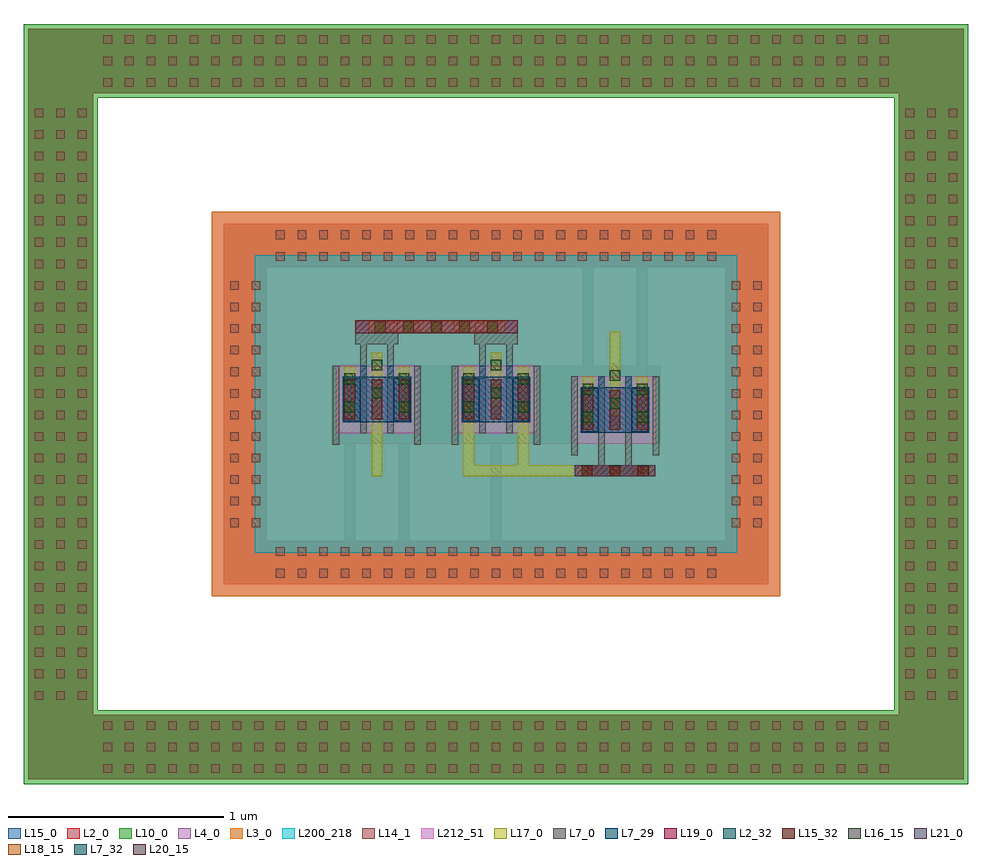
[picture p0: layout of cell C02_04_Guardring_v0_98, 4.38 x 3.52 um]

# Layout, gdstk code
import gdstk
lib = gdstk.Library(unit=1e-6, precision=1e-09)
def R(c, l, rs):  # rectangles x0, y0, x1, y1
    for r in rs: c.add(gdstk.rectangle(r[:2], r[2:], *l))
def A(c, l, x, y, w, h, nx, ny, dx, dy):  # array of equal rectangles
    R(c, l, [(x+i*dx, y+j*dy, x+i*dx+w, y+j*dy+h) for i in range(nx) for j in range(ny)])
L2_0 = (2, 0)
L2_32 = (2, 32)
L3_0 = (3, 0)
L4_0 = (4, 0)
L7_0 = (7, 0)
L7_29 = (7, 29)
L7_32 = (7, 32)
L10_0 = (10, 0)
L14_1 = (14, 1)
L15_0 = (15, 0)
L15_32 = (15, 32)
L16_15 = (16, 15)
L17_0 = (17, 0)
L18_15 = (18, 15)
L19_0 = (19, 0)
L20_15 = (20, 15)
L21_0 = (21, 0)
L200_218 = (200, 218)
L212_51 = (212, 51)

c02_04_guardring_v0_98_s = lib.new_cell('C02_04_Guardring_v0_98:SRF_Tr5Tr7Tr9:SRF_Tr5:SRF_Pmos:SRF_Source_ViaM1M2:SRF_ViaM1M2')
R(c02_04_guardring_v0_98_s, L15_0, [(0,-0.162,0.05,0.082)])
R(c02_04_guardring_v0_98_s, L16_15, [(0,-0.13,0.05,-0.08), (0,0,0.05,0.05)])
R(c02_04_guardring_v0_98_s, L17_0, [(0,-0.162,0.05,0.082)])

c_c02_04_guardring_v0_98_s = lib.new_cell('C02_04_Guardring_v0_98:SRF_Tr5Tr7Tr9:SRF_Tr5:SRF_Pmos:SRF_Source_ViaM1M2')
c_c02_04_guardring_v0_98_s.add(gdstk.Reference(c02_04_guardring_v0_98_s, (-0.025,0.04)))

c_c02_04_guardring_v0_98_s_ = lib.new_cell('C02_04_Guardring_v0_98:SRF_Tr5Tr7Tr9:SRF_Tr5:SRF_Pmos:SRF_Drain_ViaM1M2:SRF_ViaM1M2')
R(c_c02_04_guardring_v0_98_s_, L15_0, [(0,-0.162,0.05,0.082)])
R(c_c02_04_guardring_v0_98_s_, L16_15, [(0,-0.13,0.05,-0.08), (0,0,0.05,0.05)])
R(c_c02_04_guardring_v0_98_s_, L17_0, [(0,-0.162,0.05,0.082)])

c_c02_04_guardring_v0_98_s__ = lib.new_cell('C02_04_Guardring_v0_98:SRF_Tr5Tr7Tr9:SRF_Tr5:SRF_Pmos:SRF_Drain_ViaM1M2')
c_c02_04_guardring_v0_98_s__.add(gdstk.Reference(c_c02_04_guardring_v0_98_s_, (-0.025,0.04)))

c_c02_04_guardring_v0_98_s___ = lib.new_cell('C02_04_Guardring_v0_98:SRF_Tr5Tr7Tr9:SRF_Tr5:SRF_Pmos')
R(c_c02_04_guardring_v0_98_s___, L2_0, [(-0.076,0.057,0.232,0.257)])
R(c_c02_04_guardring_v0_98_s___, L2_32, [(-0.076,0.057,0,0.257), (0.156,0.057,0.232,0.257)])
R(c_c02_04_guardring_v0_98_s___, L7_0, [(-0.126,-0.053,-0.096,0.314), (0.252,-0.053,0.282,0.314), (0,0,0.03,0.314), (0.126,0,0.156,0.314)])
R(c_c02_04_guardring_v0_98_s___, L7_29, [(-0.081,0.052,0.237,0.262)])
R(c_c02_04_guardring_v0_98_s___, L7_32, [(0,0.257,0.03,0.314), (0.126,0.257,0.156,0.314)])
R(c_c02_04_guardring_v0_98_s___, L10_0, [(-0.132,0.001,0.288,0.313)])
A(c_c02_04_guardring_v0_98_s___, L14_1, -0.068, 0.087, 0.04, 0.04, 3, 2, 0.126, 0.1)
R(c_c02_04_guardring_v0_98_s___, L15_0, [(-0.073,0.066,-0.023,0.248), (-0.073,0.066,-0.023,0.248), (0.053,0.066,0.103,0.248), (0.053,0.066,0.103,0.248), (0.179,0.066,0.229,0.248), (0.179,0.066,0.229,0.248)])
A(c_c02_04_guardring_v0_98_s___, L15_32, -0.073, 0.066, 0.05, 0.182, 3, 1, 0.126, 0)
R(c_c02_04_guardring_v0_98_s___, L212_51, [(-0.111,0.001,0.267,0.313)])
c_c02_04_guardring_v0_98_s___.add(gdstk.Reference(c_c02_04_guardring_v0_98_s, (-0.048,0.188)))
c_c02_04_guardring_v0_98_s___.add(gdstk.Reference(c_c02_04_guardring_v0_98_s, (0.204,0.188)))
c_c02_04_guardring_v0_98_s___.add(gdstk.Reference(c_c02_04_guardring_v0_98_s__, (0.078,0.252)))

c_c02_04_guardring_v0_98_s____ = lib.new_cell('C02_04_Guardring_v0_98:SRF_Tr5Tr7Tr9:SRF_Tr5')
R(c_c02_04_guardring_v0_98_s____, L7_0, [(0,0.314,0.03,0.414), (0.126,0.314,0.156,0.414), (-0.022,0.414,0.178,0.464)])
R(c_c02_04_guardring_v0_98_s____, L17_0, [(0.053,-0.198,0.103,-0.148), (0.053,-0.148,0.103,0.13)])
c_c02_04_guardring_v0_98_s____.add(gdstk.Reference(c_c02_04_guardring_v0_98_s___, (0,0)))

c_c02_04_guardring_v0_98_s_____ = lib.new_cell('C02_04_Guardring_v0_98:SRF_Tr5Tr7Tr9:SRF_Tr7:SRF_Pmos:SRF_Source_ViaM1M2:SRF_ViaM1M2')
R(c_c02_04_guardring_v0_98_s_____, L15_0, [(0,-0.162,0.05,0.082)])
R(c_c02_04_guardring_v0_98_s_____, L16_15, [(0,-0.13,0.05,-0.08), (0,0,0.05,0.05)])
R(c_c02_04_guardring_v0_98_s_____, L17_0, [(0,-0.162,0.05,0.082)])

c_c02_04_guardring_v0_98_s______ = lib.new_cell('C02_04_Guardring_v0_98:SRF_Tr5Tr7Tr9:SRF_Tr7:SRF_Pmos:SRF_Source_ViaM1M2')
c_c02_04_guardring_v0_98_s______.add(gdstk.Reference(c_c02_04_guardring_v0_98_s_____, (-0.025,0.04)))

c_c02_04_guardring_v0_98_s_______ = lib.new_cell('C02_04_Guardring_v0_98:SRF_Tr5Tr7Tr9:SRF_Tr7:SRF_Pmos:SRF_Drain_ViaM1M2:SRF_ViaM1M2')
R(c_c02_04_guardring_v0_98_s_______, L15_0, [(0,-0.162,0.05,0.082)])
R(c_c02_04_guardring_v0_98_s_______, L16_15, [(0,-0.13,0.05,-0.08), (0,0,0.05,0.05)])
R(c_c02_04_guardring_v0_98_s_______, L17_0, [(0,-0.162,0.05,0.082)])

c_c02_04_guardring_v0_98_s________ = lib.new_cell('C02_04_Guardring_v0_98:SRF_Tr5Tr7Tr9:SRF_Tr7:SRF_Pmos:SRF_Drain_ViaM1M2')
c_c02_04_guardring_v0_98_s________.add(gdstk.Reference(c_c02_04_guardring_v0_98_s_______, (-0.025,0.04)))

c_c02_04_guardring_v0_98_s_________ = lib.new_cell('C02_04_Guardring_v0_98:SRF_Tr5Tr7Tr9:SRF_Tr7:SRF_Pmos')
R(c_c02_04_guardring_v0_98_s_________, L2_0, [(-0.076,0.057,0.232,0.257)])
R(c_c02_04_guardring_v0_98_s_________, L2_32, [(-0.076,0.057,0,0.257), (0.156,0.057,0.232,0.257)])
R(c_c02_04_guardring_v0_98_s_________, L7_0, [(-0.126,-0.053,-0.096,0.314), (0.252,-0.053,0.282,0.314), (0,0,0.03,0.314), (0.126,0,0.156,0.314)])
R(c_c02_04_guardring_v0_98_s_________, L7_29, [(-0.081,0.052,0.237,0.262)])
R(c_c02_04_guardring_v0_98_s_________, L7_32, [(0,0.257,0.03,0.314), (0.126,0.257,0.156,0.314)])
R(c_c02_04_guardring_v0_98_s_________, L10_0, [(-0.132,0.001,0.288,0.313)])
A(c_c02_04_guardring_v0_98_s_________, L14_1, -0.068, 0.087, 0.04, 0.04, 3, 2, 0.126, 0.1)
R(c_c02_04_guardring_v0_98_s_________, L15_0, [(-0.073,0.066,-0.023,0.248), (-0.073,0.066,-0.023,0.248), (0.053,0.066,0.103,0.248), (0.053,0.066,0.103,0.248), (0.179,0.066,0.229,0.248), (0.179,0.066,0.229,0.248)])
A(c_c02_04_guardring_v0_98_s_________, L15_32, -0.073, 0.066, 0.05, 0.182, 3, 1, 0.126, 0)
R(c_c02_04_guardring_v0_98_s_________, L212_51, [(-0.111,0.001,0.267,0.313)])
c_c02_04_guardring_v0_98_s_________.add(gdstk.Reference(c_c02_04_guardring_v0_98_s______, (-0.048,0.188)))
c_c02_04_guardring_v0_98_s_________.add(gdstk.Reference(c_c02_04_guardring_v0_98_s______, (0.204,0.188)))
c_c02_04_guardring_v0_98_s_________.add(gdstk.Reference(c_c02_04_guardring_v0_98_s________, (0.078,0.252)))

c_c02_04_guardring_v0_98_s__________ = lib.new_cell('C02_04_Guardring_v0_98:SRF_Tr5Tr7Tr9:SRF_Tr7')
R(c_c02_04_guardring_v0_98_s__________, L7_0, [(0,0.314,0.03,0.414), (0.126,0.314,0.156,0.414), (-0.022,0.414,0.178,0.464)])
R(c_c02_04_guardring_v0_98_s__________, L17_0, [(-0.073,-0.198,0.229,-0.148), (-0.073,-0.148,-0.023,0.066), (0.179,-0.148,0.229,0.066)])
c_c02_04_guardring_v0_98_s__________.add(gdstk.Reference(c_c02_04_guardring_v0_98_s_________, (0,0)))

c_c02_04_guardring_v0_98_s___________ = lib.new_cell('C02_04_Guardring_v0_98:SRF_Tr5Tr7Tr9:SRF_Tr9:SRF_Pmos:SRF_Source_ViaM1M2:SRF_ViaM1M2')
R(c_c02_04_guardring_v0_98_s___________, L15_0, [(0,-0.162,0.05,0.082)])
R(c_c02_04_guardring_v0_98_s___________, L16_15, [(0,-0.13,0.05,-0.08), (0,0,0.05,0.05)])
R(c_c02_04_guardring_v0_98_s___________, L17_0, [(0,-0.162,0.05,0.082)])

c_c02_04_guardring_v0_98_s____________ = lib.new_cell('C02_04_Guardring_v0_98:SRF_Tr5Tr7Tr9:SRF_Tr9:SRF_Pmos:SRF_Source_ViaM1M2')
c_c02_04_guardring_v0_98_s____________.add(gdstk.Reference(c_c02_04_guardring_v0_98_s___________, (-0.025,0.04)))

c_c02_04_guardring_v0_98_s_____________ = lib.new_cell('C02_04_Guardring_v0_98:SRF_Tr5Tr7Tr9:SRF_Tr9:SRF_Pmos:SRF_Drain_ViaM1M2:SRF_ViaM1M2')
R(c_c02_04_guardring_v0_98_s_____________, L15_0, [(0,-0.162,0.05,0.082)])
R(c_c02_04_guardring_v0_98_s_____________, L16_15, [(0,-0.13,0.05,-0.08), (0,0,0.05,0.05)])
R(c_c02_04_guardring_v0_98_s_____________, L17_0, [(0,-0.162,0.05,0.082)])

c_c02_04_guardring_v0_98_s______________ = lib.new_cell('C02_04_Guardring_v0_98:SRF_Tr5Tr7Tr9:SRF_Tr9:SRF_Pmos:SRF_Drain_ViaM1M2')
c_c02_04_guardring_v0_98_s______________.add(gdstk.Reference(c_c02_04_guardring_v0_98_s_____________, (-0.025,0.04)))

c_c02_04_guardring_v0_98_s_______________ = lib.new_cell('C02_04_Guardring_v0_98:SRF_Tr5Tr7Tr9:SRF_Tr9:SRF_Pmos')
R(c_c02_04_guardring_v0_98_s_______________, L2_0, [(-0.076,0.057,0.232,0.257)])
R(c_c02_04_guardring_v0_98_s_______________, L2_32, [(-0.076,0.057,0,0.257), (0.156,0.057,0.232,0.257)])
R(c_c02_04_guardring_v0_98_s_______________, L7_0, [(-0.126,-0.053,-0.096,0.314), (0.252,-0.053,0.282,0.314), (0,0,0.03,0.314), (0.126,0,0.156,0.314)])
R(c_c02_04_guardring_v0_98_s_______________, L7_29, [(-0.081,0.052,0.237,0.262)])
R(c_c02_04_guardring_v0_98_s_______________, L7_32, [(0,0.257,0.03,0.314), (0.126,0.257,0.156,0.314)])
R(c_c02_04_guardring_v0_98_s_______________, L10_0, [(-0.132,0.001,0.288,0.313)])
A(c_c02_04_guardring_v0_98_s_______________, L14_1, -0.068, 0.087, 0.04, 0.04, 3, 2, 0.126, 0.1)
R(c_c02_04_guardring_v0_98_s_______________, L15_0, [(-0.073,0.066,-0.023,0.248), (-0.073,0.066,-0.023,0.248), (0.053,0.066,0.103,0.248), (0.053,0.066,0.103,0.248), (0.179,0.066,0.229,0.248), (0.179,0.066,0.229,0.248)])
A(c_c02_04_guardring_v0_98_s_______________, L15_32, -0.073, 0.066, 0.05, 0.182, 3, 1, 0.126, 0)
R(c_c02_04_guardring_v0_98_s_______________, L212_51, [(-0.111,0.001,0.267,0.313)])
c_c02_04_guardring_v0_98_s_______________.add(gdstk.Reference(c_c02_04_guardring_v0_98_s____________, (-0.048,0.188)))
c_c02_04_guardring_v0_98_s_______________.add(gdstk.Reference(c_c02_04_guardring_v0_98_s____________, (0.204,0.188)))
c_c02_04_guardring_v0_98_s_______________.add(gdstk.Reference(c_c02_04_guardring_v0_98_s______________, (0.078,0.252)))

c_c02_04_guardring_v0_98_s________________ = lib.new_cell('C02_04_Guardring_v0_98:SRF_Tr5Tr7Tr9:SRF_Tr9')
R(c_c02_04_guardring_v0_98_s________________, L7_0, [(-0.052,-0.15,0.208,-0.1), (0,-0.1,0.03,0), (0.126,-0.1,0.156,0)])
R(c_c02_04_guardring_v0_98_s________________, L17_0, [(0.053,0.374,0.103,0.469), (0.053,0.469,0.103,0.519)])
c_c02_04_guardring_v0_98_s________________.add(gdstk.Reference(c_c02_04_guardring_v0_98_s_______________, (0,0)))

c_c02_04_guardring_v0_98_s_________________ = lib.new_cell('C02_04_Guardring_v0_98:SRF_Tr5Tr7Tr9')
R(c_c02_04_guardring_v0_98_s_________________, L10_0, [(-0.132,-0.047,1.392,0.313)])
c_c02_04_guardring_v0_98_s_________________.add(gdstk.Reference(c_c02_04_guardring_v0_98_s____, (0,0)))
c_c02_04_guardring_v0_98_s_________________.add(gdstk.Reference(c_c02_04_guardring_v0_98_s__________, (0.552,0)))
c_c02_04_guardring_v0_98_s_________________.add(gdstk.Reference(c_c02_04_guardring_v0_98_s________________, (1.104,-0.048)))

c02_04_guardring_v0_98__ = lib.new_cell('C02_04_Guardring_v0_98:_Nbodyring:SRF_NbodyTop:SRF_NbodyContactPhyLen')
R(c02_04_guardring_v0_98__, L2_0, [(-0.042,-0.13,2.082,0.07)])
R(c02_04_guardring_v0_98__, L4_0, [(-0.098,-0.186,2.138,0.126)])
A(c02_04_guardring_v0_98__, L14_1, 0, -0.1, 0.04, 0.04, 21, 2, 0.1, 0.1)
R(c02_04_guardring_v0_98__, L15_0, [(-0.042,-0.13,2.082,0.07)])

c_c02_04_guardring_v0_98__ = lib.new_cell('C02_04_Guardring_v0_98:_Nbodyring:SRF_NbodyTop')
c_c02_04_guardring_v0_98__.add(gdstk.Reference(c02_04_guardring_v0_98__, (0,0)))

c_c02_04_guardring_v0_98___ = lib.new_cell('C02_04_Guardring_v0_98:_Nbodyring:SRF_NbodyBottom:SRF_NbodyContactPhyLen')
R(c_c02_04_guardring_v0_98___, L2_0, [(-0.042,-0.13,2.082,0.07)])
R(c_c02_04_guardring_v0_98___, L4_0, [(-0.098,-0.186,2.138,0.126)])
A(c_c02_04_guardring_v0_98___, L14_1, 0, -0.1, 0.04, 0.04, 21, 2, 0.1, 0.1)
R(c_c02_04_guardring_v0_98___, L15_0, [(-0.042,-0.13,2.082,0.07)])

c_c02_04_guardring_v0_98____ = lib.new_cell('C02_04_Guardring_v0_98:_Nbodyring:SRF_NbodyBottom')
c_c02_04_guardring_v0_98____.add(gdstk.Reference(c_c02_04_guardring_v0_98___, (0,0)))

c_c02_04_guardring_v0_98_____ = lib.new_cell('C02_04_Guardring_v0_98:_Nbodyring:SRF_NbodyLeft:SRF_NbodyContactPhyLen')
R(c_c02_04_guardring_v0_98_____, L2_0, [(-0.03,-1.164,0.17,0.105)])
R(c_c02_04_guardring_v0_98_____, L4_0, [(-0.086,-1.22,0.226,0.161)])
A(c_c02_04_guardring_v0_98_____, L14_1, 0, -1.1, 0.04, 0.04, 1, 12, 0, 0.1)
A(c_c02_04_guardring_v0_98_____, L14_1, 0.1, -1.1, 0.04, 0.04, 1, 12, 0, 0.1)
R(c_c02_04_guardring_v0_98_____, L15_0, [(-0.03,-1.164,0.17,0.105)])

c_c02_04_guardring_v0_98______ = lib.new_cell('C02_04_Guardring_v0_98:_Nbodyring:SRF_NbodyLeft')
c_c02_04_guardring_v0_98______.add(gdstk.Reference(c_c02_04_guardring_v0_98_____, (0,0)))

c_c02_04_guardring_v0_98_______ = lib.new_cell('C02_04_Guardring_v0_98:_Nbodyring:SRF_NbodyRight:SRF_NbodyContactPhyLen')
R(c_c02_04_guardring_v0_98_______, L2_0, [(-0.03,-1.164,0.17,0.105)])
R(c_c02_04_guardring_v0_98_______, L4_0, [(-0.086,-1.22,0.226,0.161)])
A(c_c02_04_guardring_v0_98_______, L14_1, 0, -1.1, 0.04, 0.04, 1, 12, 0, 0.1)
A(c_c02_04_guardring_v0_98_______, L14_1, 0.1, -1.1, 0.04, 0.04, 1, 12, 0, 0.1)
R(c_c02_04_guardring_v0_98_______, L15_0, [(-0.03,-1.164,0.17,0.105)])

c_c02_04_guardring_v0_98________ = lib.new_cell('C02_04_Guardring_v0_98:_Nbodyring:SRF_NbodyRight')
c_c02_04_guardring_v0_98________.add(gdstk.Reference(c_c02_04_guardring_v0_98_______, (0,0)))

c_c02_04_guardring_v0_98_________ = lib.new_cell('C02_04_Guardring_v0_98:_Nbodyring')
R(c_c02_04_guardring_v0_98_________, L2_0, [(-0.242,-1.599,2.282,-1.399), (-0.242,-1.599,-0.042,0.07), (2.082,-1.599,2.282,0.07), (-0.242,-0.13,2.282,0.07)])
R(c_c02_04_guardring_v0_98_________, L4_0, [(-0.298,-1.655,2.338,-1.343), (-0.298,-1.655,0.014,0.126), (2.026,-1.655,2.338,0.126), (-0.298,-0.186,2.338,0.126)])
R(c_c02_04_guardring_v0_98_________, L15_0, [(-0.242,-1.599,2.282,-1.399), (-0.242,-1.599,-0.042,0.07), (2.082,-1.599,2.282,0.07), (-0.242,-0.13,2.282,0.07)])
c_c02_04_guardring_v0_98_________.add(gdstk.Reference(c_c02_04_guardring_v0_98__, (0,0)))
c_c02_04_guardring_v0_98_________.add(gdstk.Reference(c_c02_04_guardring_v0_98____, (0,-1.469)))
c_c02_04_guardring_v0_98_________.add(gdstk.Reference(c_c02_04_guardring_v0_98______, (-0.212,-0.235)))
c_c02_04_guardring_v0_98_________.add(gdstk.Reference(c_c02_04_guardring_v0_98________, (2.112,-0.235)))

c_c02_04_guardring_v0_98_s__________________ = lib.new_cell('C02_04_Guardring_v0_98:SRF_Tr5Tr7_Gate_ViaM0M3:SRF_ViaM0M1')
R(c_c02_04_guardring_v0_98_s__________________, L7_0, [(-0.01,-0.004,0.45,0.044)])
A(c_c02_04_guardring_v0_98_s__________________, L14_1, 0, 0, 0.04, 0.04, 5, 1, 0.1, 0)
R(c_c02_04_guardring_v0_98_s__________________, L15_0, [(-0.021,-0.005,0.461,0.045)])

c_c02_04_guardring_v0_98_s___________________ = lib.new_cell('C02_04_Guardring_v0_98:SRF_Tr5Tr7_Gate_ViaM0M3:SRF_ViaM1M2')
R(c_c02_04_guardring_v0_98_s___________________, L15_0, [(-0.032,0,0.602,0.05)])
A(c_c02_04_guardring_v0_98_s___________________, L16_15, 0, 0, 0.05, 0.05, 5, 1, 0.13, 0)
R(c_c02_04_guardring_v0_98_s___________________, L17_0, [(-0.032,0,0.602,0.05)])

c_c02_04_guardring_v0_98_s____________________ = lib.new_cell('C02_04_Guardring_v0_98:SRF_Tr5Tr7_Gate_ViaM0M3:SRF_ViaM2M3')
R(c_c02_04_guardring_v0_98_s____________________, L17_0, [(-0.032,0,0.602,0.05)])
A(c_c02_04_guardring_v0_98_s____________________, L18_15, 0, 0, 0.05, 0.05, 5, 1, 0.13, 0)
R(c_c02_04_guardring_v0_98_s____________________, L19_0, [(-0.032,0,0.602,0.05)])

c_c02_04_guardring_v0_98_s_____________________ = lib.new_cell('C02_04_Guardring_v0_98:SRF_Tr5Tr7_Gate_ViaM0M3')
c_c02_04_guardring_v0_98_s_____________________.add(gdstk.Reference(c_c02_04_guardring_v0_98_s__________________, (-0.22,-0.02)))
c_c02_04_guardring_v0_98_s_____________________.add(gdstk.Reference(c_c02_04_guardring_v0_98_s___________________, (-0.285,-0.025)))
c_c02_04_guardring_v0_98_s_____________________.add(gdstk.Reference(c_c02_04_guardring_v0_98_s____________________, (-0.285,-0.025)))

c02_04_guardring_v0_98_b = lib.new_cell('C02_04_Guardring_v0_98:BND_Tr7_Source_Tr9_Gate_ViaM0M4:SRF_ViaM0M1')
R(c02_04_guardring_v0_98_b, L7_0, [(-0.01,-0.004,0.25,0.044)])
A(c02_04_guardring_v0_98_b, L14_1, 0, 0, 0.04, 0.04, 3, 1, 0.1, 0)
R(c02_04_guardring_v0_98_b, L15_0, [(-0.021,-0.005,0.261,0.045)])

c_c02_04_guardring_v0_98_b = lib.new_cell('C02_04_Guardring_v0_98:BND_Tr7_Source_Tr9_Gate_ViaM0M4:SRF_ViaM1M2')
R(c_c02_04_guardring_v0_98_b, L15_0, [(-0.032,0,0.342,0.05)])
A(c_c02_04_guardring_v0_98_b, L16_15, 0, 0, 0.05, 0.05, 3, 1, 0.13, 0)
R(c_c02_04_guardring_v0_98_b, L17_0, [(-0.032,0,0.342,0.05)])

c_c02_04_guardring_v0_98_b_ = lib.new_cell('C02_04_Guardring_v0_98:BND_Tr7_Source_Tr9_Gate_ViaM0M4:SRF_ViaM2M3')
R(c_c02_04_guardring_v0_98_b_, L17_0, [(-0.032,0,0.342,0.05)])
A(c_c02_04_guardring_v0_98_b_, L18_15, 0, 0, 0.05, 0.05, 3, 1, 0.13, 0)
R(c_c02_04_guardring_v0_98_b_, L19_0, [(-0.032,0,0.342,0.05)])

c_c02_04_guardring_v0_98_b__ = lib.new_cell('C02_04_Guardring_v0_98:BND_Tr7_Source_Tr9_Gate_ViaM0M4:SRF_ViaM3M4')
R(c_c02_04_guardring_v0_98_b__, L19_0, [(-0.032,0,0.342,0.05)])
A(c_c02_04_guardring_v0_98_b__, L20_15, 0, 0, 0.05, 0.05, 3, 1, 0.13, 0)
R(c_c02_04_guardring_v0_98_b__, L21_0, [(-0.032,0,0.342,0.05)])

c_c02_04_guardring_v0_98_b___ = lib.new_cell('C02_04_Guardring_v0_98:BND_Tr7_Source_Tr9_Gate_ViaM0M4')
c_c02_04_guardring_v0_98_b___.add(gdstk.Reference(c02_04_guardring_v0_98_b, (-0.12,-0.02)))
c_c02_04_guardring_v0_98_b___.add(gdstk.Reference(c_c02_04_guardring_v0_98_b, (-0.155,-0.025)))
c_c02_04_guardring_v0_98_b___.add(gdstk.Reference(c_c02_04_guardring_v0_98_b_, (-0.155,-0.025)))
c_c02_04_guardring_v0_98_b___.add(gdstk.Reference(c_c02_04_guardring_v0_98_b__, (-0.155,-0.025)))

c_c02_04_guardring_v0_98_s______________________ = lib.new_cell('C02_04_Guardring_v0_98:SRF_Pbodyring:SRF_PbodyTop:SRF_PbodyContactPhyLen')
R(c_c02_04_guardring_v0_98_s______________________, L2_0, [(-0.048,-0.23,3.688,0.07)])
R(c_c02_04_guardring_v0_98_s______________________, L10_0, [(-0.069,-0.251,3.709,0.091)])
A(c_c02_04_guardring_v0_98_s______________________, L14_1, 0, -0.2, 0.04, 0.04, 37, 3, 0.1, 0.1)
R(c_c02_04_guardring_v0_98_s______________________, L15_0, [(-0.048,-0.23,3.688,0.07)])

c_c02_04_guardring_v0_98_s_______________________ = lib.new_cell('C02_04_Guardring_v0_98:SRF_Pbodyring:SRF_PbodyTop')
c_c02_04_guardring_v0_98_s_______________________.add(gdstk.Reference(c_c02_04_guardring_v0_98_s______________________, (0,0)))

c_c02_04_guardring_v0_98_s________________________ = lib.new_cell('C02_04_Guardring_v0_98:SRF_Pbodyring:SRF_PbodyBottom:SRF_PbodyContactPhyLen')
R(c_c02_04_guardring_v0_98_s________________________, L2_0, [(-0.048,-0.23,3.688,0.07)])
R(c_c02_04_guardring_v0_98_s________________________, L10_0, [(-0.069,-0.251,3.709,0.091)])
A(c_c02_04_guardring_v0_98_s________________________, L14_1, 0, -0.2, 0.04, 0.04, 37, 3, 0.1, 0.1)
R(c_c02_04_guardring_v0_98_s________________________, L15_0, [(-0.048,-0.23,3.688,0.07)])

c_c02_04_guardring_v0_98_s_________________________ = lib.new_cell('C02_04_Guardring_v0_98:SRF_Pbodyring:SRF_PbodyBottom')
c_c02_04_guardring_v0_98_s_________________________.add(gdstk.Reference(c_c02_04_guardring_v0_98_s________________________, (0,0)))

c_c02_04_guardring_v0_98_s__________________________ = lib.new_cell('C02_04_Guardring_v0_98:SRF_Pbodyring:SRF_PbodyLeft:SRF_PbodyContactPhyLen')
R(c_c02_04_guardring_v0_98_s__________________________, L2_0, [(-0.03,-2.77,0.27,0.111)])
R(c_c02_04_guardring_v0_98_s__________________________, L10_0, [(-0.051,-2.792,0.291,0.131)])
A(c_c02_04_guardring_v0_98_s__________________________, L14_1, 0, -2.7, 0.04, 0.04, 3, 28, 0.1, 0.1)
R(c_c02_04_guardring_v0_98_s__________________________, L15_0, [(-0.03,-2.77,0.27,0.111)])

c_c02_04_guardring_v0_98_s___________________________ = lib.new_cell('C02_04_Guardring_v0_98:SRF_Pbodyring:SRF_PbodyLeft')
c_c02_04_guardring_v0_98_s___________________________.add(gdstk.Reference(c_c02_04_guardring_v0_98_s__________________________, (0,0)))

c_c02_04_guardring_v0_98_s____________________________ = lib.new_cell('C02_04_Guardring_v0_98:SRF_Pbodyring:SRF_PbodyRight:SRF_PbodyContactPhyLen')
R(c_c02_04_guardring_v0_98_s____________________________, L2_0, [(-0.03,-2.77,0.27,0.111)])
R(c_c02_04_guardring_v0_98_s____________________________, L10_0, [(-0.051,-2.792,0.291,0.131)])
A(c_c02_04_guardring_v0_98_s____________________________, L14_1, 0, -2.7, 0.04, 0.04, 3, 28, 0.1, 0.1)
R(c_c02_04_guardring_v0_98_s____________________________, L15_0, [(-0.03,-2.77,0.27,0.111)])

c_c02_04_guardring_v0_98_s_____________________________ = lib.new_cell('C02_04_Guardring_v0_98:SRF_Pbodyring:SRF_PbodyRight')
c_c02_04_guardring_v0_98_s_____________________________.add(gdstk.Reference(c_c02_04_guardring_v0_98_s____________________________, (0,0)))

c_c02_04_guardring_v0_98_s______________________________ = lib.new_cell('C02_04_Guardring_v0_98:SRF_Pbodyring')
R(c_c02_04_guardring_v0_98_s______________________________, L2_0, [(-0.348,-3.411,3.988,-3.111), (-0.348,-3.411,-0.048,0.07), (3.688,-3.411,3.988,0.07), (-0.348,-0.23,3.988,0.07)])
R(c_c02_04_guardring_v0_98_s______________________________, L10_0, [(-0.369,-3.432,4.009,-3.09), (-0.369,-3.432,-0.027,0.091), (3.667,-3.432,4.009,0.091), (-0.369,-0.251,4.009,0.091)])
R(c_c02_04_guardring_v0_98_s______________________________, L15_0, [(-0.348,-3.411,3.988,-3.111), (-0.348,-3.411,-0.048,0.07), (3.688,-3.411,3.988,0.07), (-0.348,-0.23,3.988,0.07)])
c_c02_04_guardring_v0_98_s______________________________.add(gdstk.Reference(c_c02_04_guardring_v0_98_s_______________________, (0,0)))
c_c02_04_guardring_v0_98_s______________________________.add(gdstk.Reference(c_c02_04_guardring_v0_98_s_________________________, (0,-3.181)))
c_c02_04_guardring_v0_98_s______________________________.add(gdstk.Reference(c_c02_04_guardring_v0_98_s___________________________, (-0.318,-0.341)))
c_c02_04_guardring_v0_98_s______________________________.add(gdstk.Reference(c_c02_04_guardring_v0_98_s_____________________________, (3.718,-0.341)))

c02_04_guardring_v0_98 = lib.new_cell('C02_04_Guardring_v0_98')
R(c02_04_guardring_v0_98, L3_0, [(-0.688,-0.754,1.948,1.027)])
R(c02_04_guardring_v0_98, L4_0, [(-0.688,-0.754,1.948,1.027)])
R(c02_04_guardring_v0_98, L7_0, [(-0.022,0.464,0.73,0.524)])
R(c02_04_guardring_v0_98, L15_0, [(-0.073,-0.498,-0.023,0.066), (0.179,-0.498,0.229,0.066), (0.605,-0.498,0.655,0.066), (1.031,0.2,1.081,0.771), (1.283,0.2,1.333,0.771)])
R(c02_04_guardring_v0_98, L17_0, [(0.479,-0.198,1.312,-0.148)])
R(c02_04_guardring_v0_98, L19_0, [(-0.022,0.464,0.73,0.524)])
R(c02_04_guardring_v0_98, L21_0, [(1.052,-0.198,1.312,-0.148)])
R(c02_04_guardring_v0_98, L200_218, [(-0.488,-0.554,1.748,0.827)])
c02_04_guardring_v0_98.add(gdstk.Reference(c_c02_04_guardring_v0_98_s_________________, (0,0)))
c02_04_guardring_v0_98.add(gdstk.Reference(c_c02_04_guardring_v0_98_________, (-0.39,0.901)))
c02_04_guardring_v0_98.add(gdstk.Reference(c_c02_04_guardring_v0_98_s_____________________, (0.354,0.494)))
c02_04_guardring_v0_98.add(gdstk.Reference(c_c02_04_guardring_v0_98_b___, (1.182,-0.173)))
c02_04_guardring_v0_98.add(gdstk.Reference(c_c02_04_guardring_v0_98_s______________________________, (-1.19,1.807)))

lib.write_gds('C02_04_Guardring_v0_98.gds')
